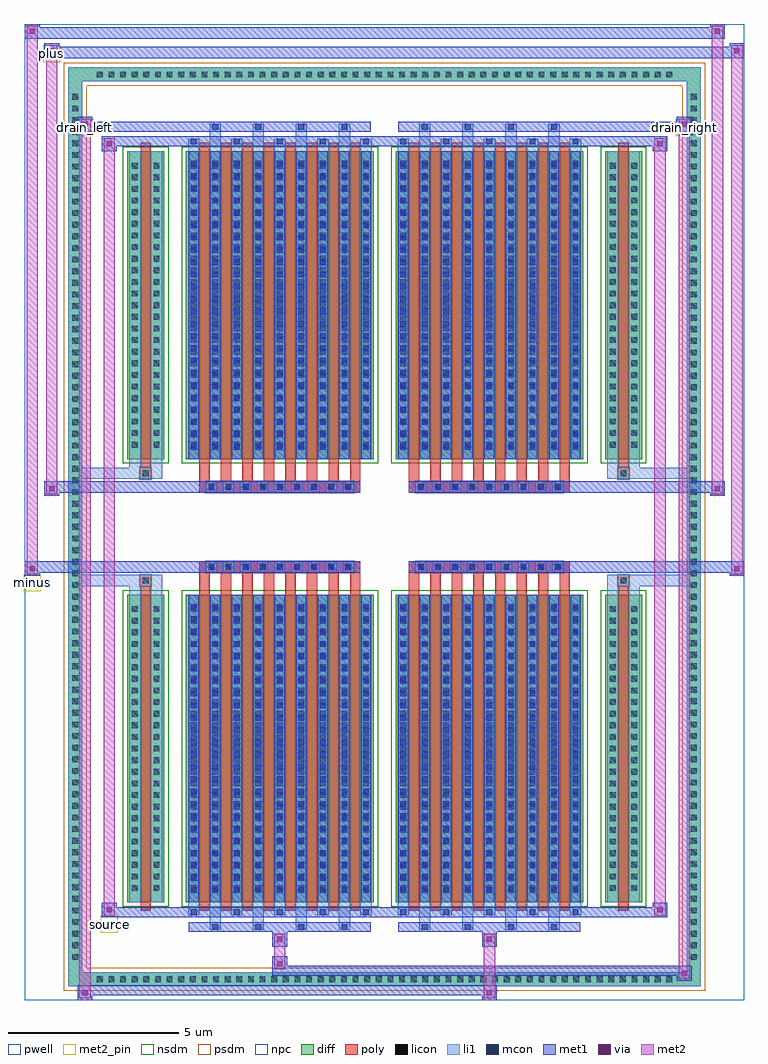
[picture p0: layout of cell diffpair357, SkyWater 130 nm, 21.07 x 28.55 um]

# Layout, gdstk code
import gdstk
lib = gdstk.Library(unit=1e-6, precision=5e-09)
def R(c, l, rs):  # rectangles x0, y0, x1, y1
    for r in rs: c.add(gdstk.rectangle(r[:2], r[2:], *l))
def A(c, l, x, y, w, h, nx, ny, dx, dy):  # array of equal rectangles
    R(c, l, [(x+i*dx, y+j*dy, x+i*dx+w, y+j*dy+h) for i in range(nx) for j in range(ny)])
def P(c, l, *ps):  # polygons
    for p in ps: c.add(gdstk.Polygon(p, *l))
pwell = (64, 44)
diff = (65, 20)
poly = (66, 20)
licon = (66, 44)
li1 = (67, 20)
mcon = (67, 44)
met1 = (68, 20)
via = (68, 44)
met2_pin = (69, 16)
met2 = (69, 20)
nsdm = (93, 44)
psdm = (94, 20)
npc = (95, 20)

diffpair357 = lib.new_cell('diffpair357')
R(diffpair357, pwell, [(-10.52,-13.84,10.52,14.71), (-7.84,-12.03,-0.01,-0.805), (0.01,-12.03,7.84,-0.805), (-7.84,0.805,-0.01,12.03), (0.01,0.805,7.84,12.03)])
A(diffpair357, diff, -8.535, -13.44, 0.41, 0.41, 50, 2, 0.34, 26.47)
A(diffpair357, diff, -9.25, -12.785, 0.41, 0.41, 1, 75, 0, 0.34)
A(diffpair357, diff, 8.84, -12.785, 0.41, 0.41, 1, 75, 0, 0.34)
R(diffpair357, diff, [(-8.535,-13.44,8.535,-13.03), (-9.25,-12.785,-8.84,12.785), (8.84,-12.785,9.25,12.785), (-7.53,-10.985,-6.45,-1.985), (-5.81,-10.985,-0.32,-1.985), (0.32,-10.985,5.81,-1.985), (6.45,-10.985,7.53,-1.985), (-7.53,1.985,-6.45,10.985), (-5.81,1.985,-0.32,10.985), (0.32,1.985,5.81,10.985), (6.45,1.985,7.53,10.985), (-8.535,13.03,8.535,13.44)])
P(diffpair357, diff, [(9.25,13.44),(-9.25,13.44),(-9.25,-13.03),(-8.84,-13.03),(-8.84,13.03),(8.84,13.03),(8.84,-13.03),(-8.84,-13.03),(-9.25,-13.03),(-9.25,-13.44),(9.25,-13.44)])
A(diffpair357, poly, -5.42, -11.235, 0.3, 9.5, 8, 2, 0.63, 12.97)
A(diffpair357, poly, 0.71, -11.235, 0.3, 9.5, 8, 2, 0.63, 12.97)
A(diffpair357, poly, -5.42, -1.735, 0.3, 0.4, 8, 2, 0.63, 3.07)
A(diffpair357, poly, 0.71, -1.735, 0.3, 0.4, 8, 2, 0.63, 3.07)
A(diffpair357, poly, -5.23, -1.335, 0.33, 0.33, 9, 2, 0.5, 2.34)
A(diffpair357, poly, 0.9, -1.335, 0.33, 0.33, 9, 2, 0.5, 2.34)
R(diffpair357, poly, [(-7.14,-11.235,-6.84,-1.735), (6.84,-11.235,7.14,-1.735), (-7.155,-1.735,-6.825,-1.405), (-7.155,-1.735,-6.825,-1.405), (6.825,-1.735,7.155,-1.405), (6.825,-1.735,7.155,-1.405), (-5.42,-1.335,-0.71,-1.005), (0.71,-1.335,5.42,-1.005), (-5.42,1.005,-0.71,1.335), (0.71,1.005,5.42,1.335), (-7.155,1.405,-6.825,1.735), (-7.155,1.405,-6.825,1.735), (6.825,1.405,7.155,1.735), (6.825,1.405,7.155,1.735), (-7.14,1.735,-6.84,11.235), (6.84,1.735,7.14,11.235)])
A(diffpair357, licon, -8.415, -13.32, 0.17, 0.17, 50, 2, 0.34, 26.47)
A(diffpair357, licon, -9.13, -12.665, 0.17, 0.17, 1, 75, 0, 0.34)
A(diffpair357, licon, 8.96, -12.665, 0.17, 0.17, 1, 75, 0, 0.34)
A(diffpair357, licon, -7.39, -10.65, 0.17, 0.17, 1, 25, 0, 0.34)
A(diffpair357, licon, -6.76, -10.65, 0.17, 0.17, 1, 25, 0, 0.34)
A(diffpair357, licon, -5.67, -10.65, 0.17, 0.17, 9, 25, 0.63, 0.34)
A(diffpair357, licon, 0.46, -10.65, 0.17, 0.17, 9, 25, 0.63, 0.34)
A(diffpair357, licon, 6.59, -10.65, 0.17, 0.17, 1, 25, 0, 0.34)
A(diffpair357, licon, 7.22, -10.65, 0.17, 0.17, 1, 25, 0, 0.34)
A(diffpair357, licon, -5.15, -1.255, 0.17, 0.17, 9, 2, 0.5, 2.34)
A(diffpair357, licon, 0.98, -1.255, 0.17, 0.17, 9, 2, 0.5, 2.34)
A(diffpair357, licon, -7.39, 2.32, 0.17, 0.17, 1, 25, 0, 0.34)
A(diffpair357, licon, -6.76, 2.32, 0.17, 0.17, 1, 25, 0, 0.34)
A(diffpair357, licon, -5.67, 2.32, 0.17, 0.17, 9, 25, 0.63, 0.34)
A(diffpair357, licon, 0.46, 2.32, 0.17, 0.17, 9, 25, 0.63, 0.34)
A(diffpair357, licon, 6.59, 2.32, 0.17, 0.17, 1, 25, 0, 0.34)
A(diffpair357, licon, 7.22, 2.32, 0.17, 0.17, 1, 25, 0, 0.34)
R(diffpair357, licon, [(-7.075,-1.655,-6.905,-1.485), (6.905,-1.655,7.075,-1.485), (-7.075,1.485,-6.905,1.655), (6.905,1.485,7.075,1.655)])
A(diffpair357, li1, -8.495, -13.4, 0.33, 0.33, 50, 2, 0.34, 26.47)
A(diffpair357, li1, -9.21, -12.745, 0.33, 0.33, 1, 75, 0, 0.34)
A(diffpair357, li1, 8.88, -12.745, 0.33, 0.33, 1, 75, 0, 0.34)
A(diffpair357, li1, -5.12, -11.79, 0.33, 0.805, 4, 2, 1.26, 22.775)
A(diffpair357, li1, -5.04, -11.79, 0.17, 0.17, 4, 2, 1.26, 23.41)
A(diffpair357, li1, 1.01, -11.79, 0.33, 0.805, 4, 2, 1.26, 22.775)
A(diffpair357, li1, 1.09, -11.79, 0.17, 0.17, 4, 2, 1.26, 23.41)
A(diffpair357, li1, -5.75, -11.36, 0.33, 0.375, 5, 2, 1.26, 22.345)
A(diffpair357, li1, -5.67, -11.36, 0.17, 0.17, 5, 2, 1.26, 22.55)
A(diffpair357, li1, 0.38, -11.36, 0.33, 0.375, 5, 2, 1.26, 22.345)
A(diffpair357, li1, 0.46, -11.36, 0.17, 0.17, 5, 2, 1.26, 22.55)
A(diffpair357, li1, -5.75, -10.985, 0.33, 9, 9, 2, 0.63, 12.97)
A(diffpair357, li1, 0.38, -10.985, 0.33, 9, 9, 2, 0.63, 12.97)
A(diffpair357, li1, -7.47, -10.73, 0.33, 0.33, 1, 25, 0, 0.34)
A(diffpair357, li1, -6.84, -10.73, 0.33, 0.33, 1, 25, 0, 0.34)
A(diffpair357, li1, -5.75, -10.73, 0.33, 0.33, 9, 25, 0.63, 0.34)
A(diffpair357, li1, 0.38, -10.73, 0.33, 0.33, 9, 25, 0.63, 0.34)
A(diffpair357, li1, 6.51, -10.73, 0.33, 0.33, 1, 25, 0, 0.34)
A(diffpair357, li1, 7.14, -10.73, 0.33, 0.33, 1, 25, 0, 0.34)
A(diffpair357, li1, -5.67, -10.71, 0.17, 0.17, 9, 24, 0.63, 0.36)
A(diffpair357, li1, -5.67, -10.71, 0.17, 8.45, 9, 2, 0.63, 12.97)
A(diffpair357, li1, 0.46, -10.71, 0.17, 0.17, 9, 24, 0.63, 0.36)
A(diffpair357, li1, 0.46, -10.71, 0.17, 8.45, 9, 2, 0.63, 12.97)
A(diffpair357, li1, -5.23, -1.335, 0.33, 0.33, 9, 2, 0.5, 2.34)
A(diffpair357, li1, 0.9, -1.335, 0.33, 0.33, 9, 2, 0.5, 2.34)
A(diffpair357, li1, -7.47, 2.24, 0.33, 0.33, 1, 25, 0, 0.34)
A(diffpair357, li1, -6.84, 2.24, 0.33, 0.33, 1, 25, 0, 0.34)
A(diffpair357, li1, -5.75, 2.24, 0.33, 0.33, 9, 25, 0.63, 0.34)
A(diffpair357, li1, 0.38, 2.24, 0.33, 0.33, 9, 25, 0.63, 0.34)
A(diffpair357, li1, 6.51, 2.24, 0.33, 0.33, 1, 25, 0, 0.34)
A(diffpair357, li1, 7.14, 2.24, 0.33, 0.33, 1, 25, 0, 0.34)
A(diffpair357, li1, -5.67, 2.26, 0.17, 0.17, 9, 24, 0.63, 0.36)
A(diffpair357, li1, 0.46, 2.26, 0.17, 0.17, 9, 24, 0.63, 0.36)
R(diffpair357, li1, [(-9.25,-13.44,-8.84,-13.03), (-9.25,-13.44,-8.84,-13.03), (-8.84,-13.44,8.84,-13.03), (8.84,-13.44,9.25,-13.03), (8.84,-13.44,9.25,-13.03), (-9.25,-13.03,-8.84,13.03), (8.84,-13.03,9.25,13.03), (-7.47,-10.985,-7.14,-1.985), (-6.84,-10.985,-6.51,-1.985), (6.51,-10.985,6.84,-1.985), (7.14,-10.985,7.47,-1.985), (-7.47,-1.985,-7.14,-1.405), (-6.84,-1.985,-6.51,-1.405), (6.51,-1.985,6.84,-1.405), (7.14,-1.985,7.47,-1.405), (-9.25,-1.735,-7.155,-1.405), (-7.47,-1.735,-7.155,-1.405), (-7.155,-1.735,-6.825,-1.405), (-6.825,-1.735,-6.51,-1.405), (6.51,-1.735,6.825,-1.405), (6.825,-1.735,7.155,-1.405), (6.825,-1.735,9.25,-1.405), (7.155,-1.735,7.47,-1.405), (-9.25,1.405,-7.155,1.735), (-7.47,1.405,-7.155,1.735), (-7.47,1.405,-7.14,1.985), (-7.155,1.405,-6.825,1.735), (-6.84,1.405,-6.51,1.985), (-6.825,1.405,-6.51,1.735), (6.51,1.405,6.825,1.735), (6.51,1.405,6.84,1.985), (6.825,1.405,7.155,1.735), (6.825,1.405,9.25,1.735), (7.14,1.405,7.47,1.985), (7.155,1.405,7.47,1.735), (-7.47,1.985,-7.14,10.985), (-6.84,1.985,-6.51,10.985), (6.51,1.985,6.84,10.985), (7.14,1.985,7.47,10.985), (-9.25,13.03,-8.84,13.44), (-9.25,13.03,-8.84,13.44), (-8.84,13.03,8.84,13.44), (8.84,13.03,9.25,13.44), (8.84,13.03,9.25,13.44)])
A(diffpair357, mcon, -5.04, -11.79, 0.17, 0.17, 4, 2, 1.26, 23.41)
A(diffpair357, mcon, 1.09, -11.79, 0.17, 0.17, 4, 2, 1.26, 23.41)
A(diffpair357, mcon, -5.67, -11.36, 0.17, 0.17, 5, 2, 1.26, 22.55)
A(diffpair357, mcon, 0.46, -11.36, 0.17, 0.17, 5, 2, 1.26, 22.55)
A(diffpair357, mcon, -5.67, -10.71, 0.17, 0.17, 9, 24, 0.63, 0.36)
A(diffpair357, mcon, 0.46, -10.71, 0.17, 0.17, 9, 24, 0.63, 0.36)
A(diffpair357, mcon, -5.15, -1.255, 0.17, 0.17, 9, 2, 0.5, 2.34)
A(diffpair357, mcon, 0.98, -1.255, 0.17, 0.17, 9, 2, 0.5, 2.34)
A(diffpair357, mcon, -5.67, 2.26, 0.17, 0.17, 9, 24, 0.63, 0.36)
A(diffpair357, mcon, 0.46, 2.26, 0.17, 0.17, 9, 24, 0.63, 0.36)
A(diffpair357, met1, -5.1, -11.85, 0.29, 0.29, 4, 2, 1.26, 23.41)
A(diffpair357, met1, 1.03, -11.85, 0.29, 0.29, 4, 2, 1.26, 23.41)
A(diffpair357, met1, -5.73, -11.42, 0.29, 0.29, 5, 2, 1.26, 22.55)
A(diffpair357, met1, 0.4, -11.42, 0.29, 0.29, 5, 2, 1.26, 22.55)
A(diffpair357, met1, -5.73, -10.985, 0.29, 9, 9, 2, 0.63, 12.97)
A(diffpair357, met1, 0.4, -10.985, 0.29, 9, 9, 2, 0.63, 12.97)
A(diffpair357, met1, -5.73, -10.77, 0.29, 0.29, 9, 24, 0.63, 0.36)
A(diffpair357, met1, 0.4, -10.77, 0.29, 0.29, 9, 24, 0.63, 0.36)
A(diffpair357, met1, -5.21, -1.315, 0.29, 0.29, 9, 2, 0.5, 2.34)
A(diffpair357, met1, 0.92, -1.315, 0.29, 0.29, 9, 2, 0.5, 2.34)
A(diffpair357, met1, -5.73, 2.2, 0.29, 0.29, 9, 24, 0.63, 0.36)
A(diffpair357, met1, 0.4, 2.2, 0.29, 0.29, 9, 24, 0.63, 0.36)
R(diffpair357, met1, [(-8.98,-13.84,-8.55,-13.41), (2.85,-13.84,3.28,-13.41), (-8.98,-13.7,3.28,-13.41), (8.55,-13.27,8.98,-12.84), (-3.28,-13.13,8.98,-12.84), (-3.28,-12.99,-2.85,-12.56), (-3.28,-12.28,-2.85,-11.85), (2.85,-12.28,3.28,-11.85), (-5.73,-11.85,-0.4,-11.56), (0.4,-11.85,5.73,-11.56), (-8.27,-11.42,-7.84,-10.99), (-8.27,-11.42,-5.73,-11.13), (-5.73,-11.42,-0.4,-11.13), (-0.4,-11.42,0.4,-11.13), (0.4,-11.42,5.73,-11.13), (5.73,-11.42,8.27,-11.13), (7.84,-11.42,8.27,-10.99), (-10.52,-1.435,-10.09,-1.005), (10.09,-1.435,10.52,-1.005), (-10.52,-1.335,-0.71,-1.005), (-5.42,-1.335,-0.71,-1.005), (0.71,-1.335,5.42,-1.005), (0.71,-1.335,10.52,-1.005), (-9.95,0.905,-9.52,1.335), (9.52,0.905,9.95,1.335), (-9.95,1.005,-5.42,1.335), (-5.42,1.005,-0.71,1.335), (0.71,1.005,5.42,1.335), (5.42,1.005,9.95,1.335), (-8.27,10.99,-7.84,11.42), (7.84,10.99,8.27,11.42), (-8.27,11.13,-5.73,11.42), (-5.73,11.13,-0.4,11.42), (-0.4,11.13,0.4,11.42), (0.4,11.13,5.73,11.42), (5.73,11.13,8.27,11.42), (-8.98,11.56,-8.55,11.99), (-8.98,11.56,-5.73,11.85), (-5.73,11.56,-0.4,11.85), (0.4,11.56,5.73,11.85), (5.73,11.56,8.98,11.85), (8.55,11.56,8.98,11.99), (-9.95,13.71,-9.52,14.14), (-9.95,13.71,-7.84,14.04), (-7.84,13.71,7.84,14.04), (7.84,13.71,10.52,14.04), (10.09,13.71,10.52,14.14), (-10.52,14.28,-10.09,14.71), (-10.52,14.28,-7.84,14.61), (-7.84,14.28,7.84,14.61), (7.84,14.28,9.95,14.61), (9.52,14.28,9.95,14.71)])
R(diffpair357, via, [(-8.84,-13.7,-8.69,-13.55), (2.99,-13.7,3.14,-13.55), (8.69,-13.13,8.84,-12.98), (-3.14,-12.85,-2.99,-12.7), (-3.14,-12.14,-2.99,-11.99), (2.99,-12.14,3.14,-11.99), (-8.13,-11.28,-7.98,-11.13), (7.98,-11.28,8.13,-11.13), (-10.38,-1.295,-10.23,-1.145), (10.23,-1.295,10.38,-1.145), (-9.81,1.045,-9.66,1.195), (9.66,1.045,9.81,1.195), (-8.13,11.13,-7.98,11.28), (7.98,11.13,8.13,11.28), (-8.84,11.7,-8.69,11.85), (8.69,11.7,8.84,11.85), (-9.81,13.85,-9.66,14), (10.23,13.85,10.38,14), (-10.38,14.42,-10.23,14.57), (9.66,14.42,9.81,14.57)])
R(diffpair357, met2_pin, [(-8.305,-11.87,-7.805,-11.37), (-10.555,-1.885,-10.055,-1.385), (-9.015,11.44,-8.515,11.94), (8.515,11.44,9.015,11.94), (-9.985,13.59,-9.485,14.09)])
R(diffpair357, met2, [(-8.93,-13.79,-8.6,-13.46), (-8.93,-13.79,-8.6,11.94), (2.9,-13.79,3.23,-13.46), (2.9,-13.46,3.23,-12.23), (8.6,-13.22,8.93,-12.89), (8.6,-13.22,8.93,11.94), (-3.23,-12.94,-2.9,-12.61), (-3.23,-12.61,-2.9,-12.23), (-3.23,-12.23,-2.9,-11.9), (2.9,-12.23,3.23,-11.9), (-8.22,-11.37,-7.89,-11.04), (-8.22,-11.37,-7.89,11.37), (7.89,-11.37,8.22,-11.04), (7.89,-11.37,8.22,11.37), (-10.47,-1.385,-10.14,-1.055), (-10.47,-1.385,-10.14,14.66), (10.14,-1.385,10.47,-1.055), (10.14,-1.385,10.47,14.09), (-9.9,0.955,-9.57,1.285), (-9.9,0.955,-9.57,14.09), (9.57,0.955,9.9,1.285), (9.57,0.955,9.9,14.66), (-8.22,11.04,-7.89,11.37), (7.89,11.04,8.22,11.37), (-8.93,11.61,-8.6,11.94), (8.6,11.61,8.93,11.94), (-9.9,13.76,-9.57,14.09), (10.14,13.76,10.47,14.09), (-10.47,14.33,-10.14,14.66), (9.57,14.33,9.9,14.66)])
P(diffpair357, met2, [(10.47,-1.385),(10.47,-1.385),(10.47,-1.055),(10.47,-1.055)],
  [(10.47,13.76),(10.47,13.76),(10.47,14.09),(10.47,14.09)],
  [(-10.14,-1.385),(-10.14,-1.385),(-10.14,-1.055),(-10.14,-1.055)],
  [(-10.14,14.33),(-10.14,14.33),(-10.14,14.66),(-10.14,14.66)],
  [(9.9,0.955),(9.9,0.955),(9.9,1.285),(9.9,1.285)],
  [(9.9,14.33),(9.9,14.33),(9.9,14.66),(9.9,14.66)],
  [(-9.57,0.955),(-9.57,0.955),(-9.57,1.285),(-9.57,1.285)],
  [(-9.57,13.76),(-9.57,13.76),(-9.57,14.09),(-9.57,14.09)],
  [(-8.6,-13.79),(-8.6,-13.79),(-8.6,-13.46),(-8.6,-13.46)],
  [(-8.6,11.61),(-8.6,11.61),(-8.6,11.94),(-8.6,11.94)],
  [(8.93,-13.22),(8.93,-13.22),(8.93,-12.89),(8.93,-12.89)],
  [(8.93,11.61),(8.93,11.61),(8.93,11.94),(8.93,11.94)],
  [(-7.89,-11.37),(-7.89,-11.37),(-7.89,-11.04),(-7.89,-11.04)],
  [(-7.89,11.04),(-7.89,11.04),(-7.89,11.37),(-7.89,11.37)],
  [(8.22,-11.37),(8.22,-11.37),(8.22,-11.04),(8.22,-11.04)],
  [(8.22,11.04),(8.22,11.04),(8.22,11.37),(8.22,11.37)])
R(diffpair357, nsdm, [(-7.66,-11.115,-6.32,-1.855), (-5.94,-11.115,-0.19,-1.855), (0.19,-11.115,5.94,-1.855), (6.32,-11.115,7.66,-1.855), (-7.66,1.855,-6.32,11.115), (-5.94,1.855,-0.19,11.115), (0.19,1.855,5.94,11.115), (6.32,1.855,7.66,11.115)])
P(diffpair357, psdm, [(9.38,13.57),(-9.38,13.57),(-9.38,-12.9),(-8.71,-12.9),(-8.71,12.9),(8.71,12.9),(8.71,-12.9),(-8.71,-12.9),(-9.38,-12.9),(-9.38,-13.57),(9.38,-13.57)])
A(diffpair357, npc, -5.25, -1.355, 0.37, 0.37, 9, 2, 0.5, 2.34)
A(diffpair357, npc, 0.88, -1.355, 0.37, 0.37, 9, 2, 0.5, 2.34)
R(diffpair357, npc, [(-7.175,-1.755,-6.805,-1.385), (6.805,-1.755,7.175,-1.385), (-5.25,-1.355,-4.38,-0.985), (-5.25,-1.355,-4.38,-0.985), (-4.75,-1.355,-3.88,-0.985), (-4.75,-1.355,-3.88,-0.985), (-4.25,-1.355,-3.38,-0.985), (-4.25,-1.355,-3.38,-0.985), (-3.75,-1.355,-2.88,-0.985), (-3.75,-1.355,-2.88,-0.985), (-3.25,-1.355,-2.38,-0.985), (-3.25,-1.355,-2.38,-0.985), (-2.75,-1.355,-1.88,-0.985), (-2.75,-1.355,-1.88,-0.985), (-2.25,-1.355,-1.38,-0.985), (-2.25,-1.355,-1.38,-0.985), (-1.75,-1.355,-0.88,-0.985), (-1.75,-1.355,-0.88,-0.985), (0.88,-1.355,1.75,-0.985), (0.88,-1.355,1.75,-0.985), (1.38,-1.355,2.25,-0.985), (1.38,-1.355,2.25,-0.985), (1.88,-1.355,2.75,-0.985), (1.88,-1.355,2.75,-0.985), (2.38,-1.355,3.25,-0.985), (2.38,-1.355,3.25,-0.985), (2.88,-1.355,3.75,-0.985), (2.88,-1.355,3.75,-0.985), (3.38,-1.355,4.25,-0.985), (3.38,-1.355,4.25,-0.985), (3.88,-1.355,4.75,-0.985), (3.88,-1.355,4.75,-0.985), (4.38,-1.355,5.25,-0.985), (4.38,-1.355,5.25,-0.985), (-5.25,0.985,-4.38,1.355), (-5.25,0.985,-4.38,1.355), (-4.75,0.985,-3.88,1.355), (-4.75,0.985,-3.88,1.355), (-4.25,0.985,-3.38,1.355), (-4.25,0.985,-3.38,1.355), (-3.75,0.985,-2.88,1.355), (-3.75,0.985,-2.88,1.355), (-3.25,0.985,-2.38,1.355), (-3.25,0.985,-2.38,1.355), (-2.75,0.985,-1.88,1.355), (-2.75,0.985,-1.88,1.355), (-2.25,0.985,-1.38,1.355), (-2.25,0.985,-1.38,1.355), (-1.75,0.985,-0.88,1.355), (-1.75,0.985,-0.88,1.355), (0.88,0.985,1.75,1.355), (0.88,0.985,1.75,1.355), (1.38,0.985,2.25,1.355), (1.38,0.985,2.25,1.355), (1.88,0.985,2.75,1.355), (1.88,0.985,2.75,1.355), (2.38,0.985,3.25,1.355), (2.38,0.985,3.25,1.355), (2.88,0.985,3.75,1.355), (2.88,0.985,3.75,1.355), (3.38,0.985,4.25,1.355), (3.38,0.985,4.25,1.355), (3.88,0.985,4.75,1.355), (3.88,0.985,4.75,1.355), (4.38,0.985,5.25,1.355), (4.38,0.985,5.25,1.355), (-7.175,1.385,-6.805,1.755), (6.805,1.385,7.175,1.755)])
diffpair357.add(gdstk.Label('minus', (-10.305,-1.635), layer=69, texttype=5))
diffpair357.add(gdstk.Label('drain_right', (8.765,11.69), layer=69, texttype=5))
diffpair357.add(gdstk.Label('drain_left', (-8.765,11.69), layer=69, texttype=5))
diffpair357.add(gdstk.Label('source', (-8.055,-11.62), layer=69, texttype=5))
diffpair357.add(gdstk.Label('plus', (-9.735,13.84), layer=69, texttype=5))

lib.write_gds('diffpair357.gds')
